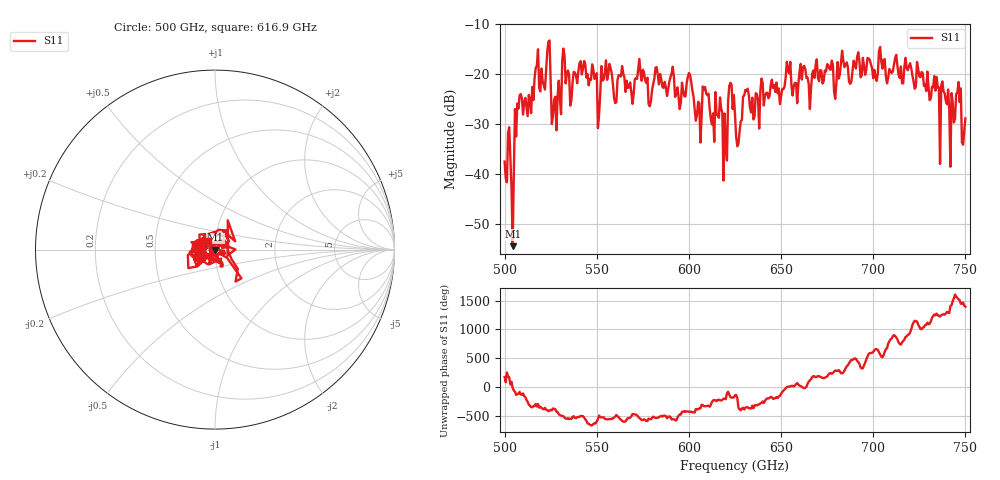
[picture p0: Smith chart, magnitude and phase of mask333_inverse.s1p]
!Created with skrf (http://scikit-rf.org).
# GHz S MA R 50.0
!freq magS11 angS11
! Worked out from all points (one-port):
!   401 points, 500 GHz to 750 GHz, reference 50 ohm
!   lowest |S11| = -54.4 dB at 504.4 GHz (marker M1), VSWR 1.00, Z = 50.2 - j0.0542 ohm
!   |S11| at or under -10 dB: start of sweep to end of sweep
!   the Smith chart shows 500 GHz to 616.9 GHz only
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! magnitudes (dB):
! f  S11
! 500 GHz  -37.5
! 504.4 GHz  -54.4
! 508.1 GHz  -24.3
! 513.1 GHz  -24.1
! 523.8 GHz  -13.5
! 526.9 GHz  -25.1
! 531.2 GHz  -17.4
! 548.8 GHz  -20.9
! 550.6 GHz  -30.8
! 562.5 GHz  -20.3
! 593.8 GHz  -22.6
! 600 GHz  -19.8
! 605 GHz  -25.5
! 608.8 GHz  -22.5
! 612.5 GHz  -30.0
! 616.9 GHz  -24.6
! 619.4 GHz  -27.9
! 623.1 GHz  -22.1
! 625 GHz  -28.1
! 626.9 GHz  -33.9
! 630.6 GHz  -23.1
! 634.4 GHz  -24.7
! 656.2 GHz  -24.3
! 687.5 GHz  -21.9
! 718.8 GHz  -19.2
! 743.1 GHz  -25.6
! 746.2 GHz  -21.6
! 750 GHz  -28.8
